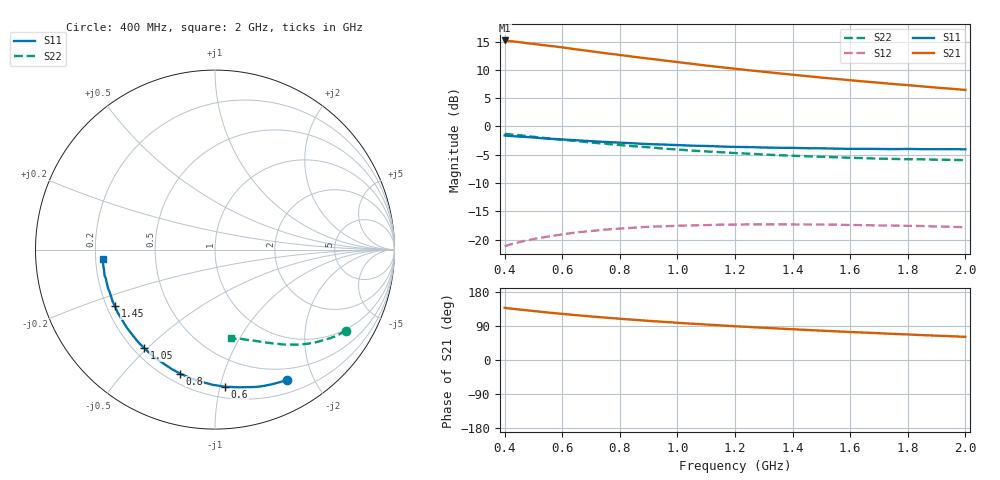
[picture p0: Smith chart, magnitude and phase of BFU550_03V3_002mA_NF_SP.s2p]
! Filename:  P:\Prog\Test\Noise\ATS_data\Testdata_Net\06 Compressed Noise after Statistics\BFU550_APG2013_43_D05_03p3V_002mA_NF_CM01_D.sf
! Date/Time: Fri 26/Apr/2013 13:07:19
! BFU550_APG2013_43_D05_03p3V_1to35mA_NF_CM01_Bias2_R.sf
! Noise Parameter Data File
! BFU550_APG2013_43_D05_03p3V_1to35mA_NF_CM01
! Date/time: Thu Apr 25 15:07:57 2013
! VAR V_out= 3.300000
! VAR I_out= 2.000000
! VAR V_in= 0.795500
! VAR I_in= 0.021700
! Device data file deembeded for feedlines and parallel
! Original file: \06 Compressed Noise after Statistics\BFU550_APG2013_43_D05_03p3V_002mA_NF_CM01_R.sf
! Feed-files: PR047V01_250413_Feed1.s2p, PR047V01_250413_Feed2.s2p
! Parallel-file: PR047V01_250413_Par.s2p
# MHz S MA R 50
!  Freq-MHz  S11-mag  S11-arg  S21-mag  S21-arg  S12-mag  S12-arg  S22-mag  S22-arg
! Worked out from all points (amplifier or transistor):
!   37 points, 400 MHz to 2 GHz, reference 50 ohm
!   highest |S21| = 15.2 dB at 400 MHz (marker M1)
!   |S21| within 3 dB of that: start of sweep to 866.9 MHz
!   unconditionally stable (mu >= 1): nowhere
!   at 500 MHz: K = 0.18, MSG = 17.3 dB, |S12| = -19.9 dB
!   at 1.1 GHz: K = 0.37, MSG = 14.1 dB, |S12| = -17.5 dB
!   at 2 GHz: K = 0.71, MSG = 12.1 dB, |S12| = -17.8 dB
!   lowest NFmin = 0.50 dB at 420 MHz
!   S11 on the Smith chart (normalised r, x): 400 MHz: 0.35, -1.64; 600 MHz: 0.28, -1.04; 800 MHz: 0.25, -0.73; 1.05 GHz: 0.24, -0.49; 1.45 GHz: 0.23, -0.25; 2 GHz: 0.23, -0.04
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400  0.8296 -61.2  5.746 137.6  0.08731 54.9  0.8584 -31.7
440  0.8159 -66.5  5.596 134.2  0.09322 52.1  0.8392 -34.2
480  0.8038 -71.5  5.427 130.9  0.09845 49.5  0.819 -36.5
500  0.7966 -74.0  5.361 129.3  0.1009 48.3  0.8094 -37.6
550  0.7787 -80.2  5.17 125.3  0.106 45.3  0.7836 -40.2
600  0.7663 -85.7  4.994 121.7  0.1111 42.6  0.762 -42.7
650  0.7532 -91.0  4.785 118.3  0.1156 40.1  0.7417 -44.9
700  0.74 -96.2  4.614 115.0  0.1188 37.6  0.7204 -47.0
750  0.7285 -101.0  4.431 111.9  0.1224 35.6  0.7024 -48.9
800  0.7181 -105.7  4.278 108.9  0.1249 33.5  0.6831 -50.8
850  0.7077 -110.1  4.117 106.1  0.1272 31.6  0.6666 -52.4
900  0.6964 -114.4  3.973 103.3  0.1296 29.8  0.6533 -54.1
950  0.691 -118.3  3.835 100.8  0.1307 28.1  0.6364 -55.8
1050  0.6751 -125.9  3.572 95.8  0.1332 25.1  0.6111 -58.7
1200  0.6584 -136.1  3.232 89.1  0.1354 21.2  0.5806 -62.6
1300  0.6502 -142.0  3.039 85.1  0.1361 19.1  0.5639 -64.9
1450  0.6407 -150.5  2.78 79.3  0.1359 16.4  0.5443 -68.3
1500  0.6396 -153.1  2.701 77.4  0.1356 15.6  0.5391 -69.4
1600  0.6329 -158.2  2.556 73.8  0.1344 14.1  0.5277 -71.6
1750  0.6293 -165.1  2.367 68.9  0.1327 12.4  0.5156 -74.5
1850  0.6287 -169.3  2.256 65.7  0.1315 11.5  0.5113 -76.5
2000  0.6271 -175.2  2.1 61.2  0.1283 10.6  0.5028 -79.5
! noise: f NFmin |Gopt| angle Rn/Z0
400  0.5532  0.4736  30.58  0.1878
460  0.5374  0.4442  40.14  0.1696
600  0.5595  0.4576  48.98  0.1695
800  0.6604  0.4523  63.57  0.1643
1000  0.7061  0.4819  80.7  0.1444
1200  0.7672  0.4769  92.62  0.1395
1400  0.8107  0.483  107.7  0.115
1600  0.8012  0.4822  123.5  0.0923
1800  0.6443  0.5108  138.7  0.0606
2000  1.079  0.5305  146.3  0.0659
